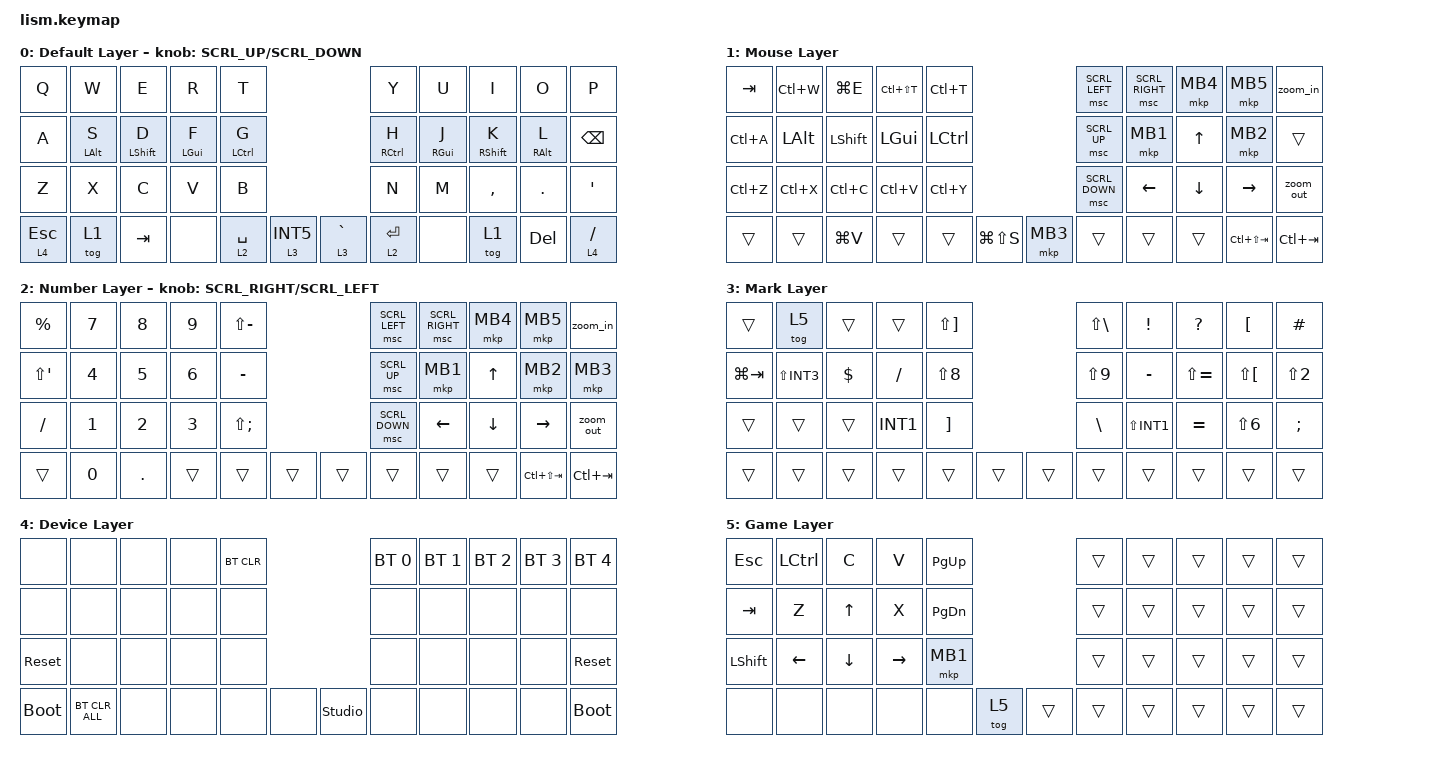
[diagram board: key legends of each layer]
#define ZMK_POINTING_DEFAULT_SCRL_VAL 100

#include <behaviors.dtsi>
#include <dt-bindings/zmk/bt.h>
#include <dt-bindings/zmk/keys.h>
#include <dt-bindings/zmk/pointing.h>
#include <dt-bindings/zmk/mouse.h>

&mt {
    tapping-term-ms = <300>;
    flavor = "balanced";
    require-prior-idle-ms = <150>;
};

&lt {
    quick-tap-ms = <300>;
};


/ {
    macros {
        emoji: emoji_macro {
            compatible = "zmk,behavior-macro";
            label = "EMOJI";
            #binding-cells = <0>;
            bindings =
                <&macro_press &kp CAPSLOCK>,
                <&macro_tap &kp E>,
                <&macro_release &kp CAPSLOCK>;
        };

        // Ctrl を押しながらホイール1ノッチ (Ctrl+ホイールと同じ拡大・縮小)
        zoom_in: zoom_in_macro {
            compatible = "zmk,behavior-macro";
            #binding-cells = <0>;
            wait-ms = <10>;
            tap-ms = <20>;
            bindings =
                <&macro_press &kp LCTRL>,
                <&macro_tap &msc SCRL_UP>,
                <&macro_release &kp LCTRL>;
        };

        zoom_out: zoom_out_macro {
            compatible = "zmk,behavior-macro";
            #binding-cells = <0>;
            wait-ms = <10>;
            tap-ms = <20>;
            bindings =
                <&macro_press &kp LCTRL>,
                <&macro_tap &msc SCRL_DOWN>,
                <&macro_release &kp LCTRL>;
        };
    };

    behaviors {
        encoder_msc: sensor_rotate_msc {
            compatible = "zmk,behavior-sensor-rotate-var";
            #sensor-binding-cells = <2>;
            bindings = <&msc>, <&msc>;
            tap-ms = <20>;
        };

        encoder_kp: sensor_rotate_kp {
            compatible = "zmk,behavior-sensor-rotate-var";
            #sensor-binding-cells = <2>;
            bindings = <&kp>, <&kp>;
        };
    };

    keymap {
        compatible = "zmk,keymap";

        default_layer {
            display-name = "Default Layer";
            bindings = <
                &kp Q            &kp W              &kp E                 &kp R                   &kp T                                                  &kp Y        &kp U            &kp I              &kp O               &kp P
                &kp A            &mt LALT S         &mt LSHIFT D          &mt LGUI F              &mt LCTRL G                                            &mt RCTRL H  &mt RGUI J       &mt RSHIFT K       &mt RALT L          &kp BSPC
                &kp Z            &kp X              &kp C                 &kp V                   &kp B                                                  &kp N        &kp M            &kp COMMA          &kp DOT             &kp SQT
                &lt 4 ESC        &tog 1             &kp TAB               &none                   &lt 2 SPACE       &lt 3 INT5          &lt 3 GRAVE      &lt 2 ENTER  &none            &tog 1              &kp DELETE          &lt 4 SLASH
            >;
            sensor-bindings = <&encoder_msc SCRL_UP SCRL_DOWN>;
        };

        layer_1 {
            display-name = "Mouse Layer";
            bindings = <
                &kp TAB          &kp LC(W)          &kp LG(E)             &kp LC(LS(T))           &kp LC(T)                                                 &msc SCRL_LEFT &msc SCRL_RIGHT &mkp MB4          &mkp MB5            &zoom_in
                &kp LC(A)        &kp LALT           &kp LSHIFT            &kp LGUI                &kp LCTRL                                                 &msc SCRL_UP &mkp MB1         &kp UP             &mkp MB2            &trans
                &kp LC(Z)        &kp LC(X)          &kp LC(C)             &kp LC(V)               &kp LC(Y)                                                 &msc SCRL_DOWN &kp LEFT       &kp DOWN           &kp RIGHT           &zoom_out
                &trans           &trans             &kp LG(V)             &trans                  &trans            &kp LG(LS(S))       &mkp MB3         &trans       &trans           &trans             &kp LC(LS(TAB))              &kp LC(TAB)
            >;
        };

        layer_2 {
            display-name = "Number Layer";
            bindings = <
                &kp PERCENT      &kp NUMBER_7       &kp NUMBER_8          &kp NUMBER_9            &kp LS(MINUS)                                             &msc SCRL_LEFT &msc SCRL_RIGHT  &mkp MB4           &mkp MB5            &zoom_in
                &kp LS(SQT)      &kp NUMBER_4       &kp NUMBER_5          &kp NUMBER_6            &kp MINUS                                              &msc SCRL_UP   &mkp MB1         &kp UP             &mkp MB2            &mkp MB3
                &kp SLASH        &kp NUMBER_1       &kp NUMBER_2          &kp NUMBER_3            &kp LS(SEMI)                                              &msc SCRL_DOWN &kp LEFT         &kp DOWN           &kp RIGHT           &zoom_out
                &trans           &kp NUMBER_0       &kp DOT               &trans                  &trans            &trans              &trans           &trans    &trans           &trans             &kp LC(LS(TAB))     &kp LC(TAB)
            >;
            sensor-bindings = <&encoder_msc SCRL_RIGHT SCRL_LEFT>;
        };

        layer_3 {
            display-name = "Mark Layer";
            bindings = <
                &trans           &tog 5             &trans                &trans                  &kp LS(RBKT)                                           &kp LS(BSLH) &kp EXCLAMATION &kp QUESTION      &kp LBKT            &kp HASH
                &kp LG(TAB)      &kp LS(INT3)       &kp DOLLAR            &kp SLASH               &kp LS(N8)                                             &kp LS(N9)   &kp MINUS        &kp LS(EQUAL) &kp LS(LBKT)      &kp LS(N2)
                &trans           &trans             &trans                &kp INT1                &kp RBKT                                               &kp BSLH     &kp LS(INT1)    &kp EQUAL         &kp LS(N6)          &kp SEMICOLON
                &trans           &trans             &trans                &trans                  &trans            &trans              &trans           &trans       &trans           &trans             &trans              &trans
            >;
        };

        layer_4 {
            display-name = "Device Layer";
            bindings = <
                &none            &none              &none                 &none                   &bt BT_CLR                                             &bt BT_SEL 0 &bt BT_SEL 1     &bt BT_SEL 2       &bt BT_SEL 3        &bt BT_SEL 4
                &none            &none              &none                 &none                   &none                                                  &none        &none            &none              &none               &none
                &sys_reset       &none              &none                 &none                   &none                                                  &none        &none            &none              &none               &sys_reset
                &bootloader      &bt BT_CLR_ALL     &none                 &none                   &none             &none               &studio_unlock   &none        &none            &none              &none               &bootloader
            >;
        };

        layer_5 {
            display-name = "Game Layer";
            bindings = <
                &kp ESC          &kp LCTRL          &kp C                 &kp V                   &kp PG_UP                                              &trans       &trans           &trans             &trans              &trans
                &kp TAB          &kp Z              &kp UP                &kp X                   &kp PG_DN                                              &trans       &trans           &trans             &trans              &trans
                &kp LSHIFT       &kp LEFT           &kp DOWN              &kp RIGHT               &mkp MB1                                               &trans       &trans           &trans             &trans              &trans
                &none            &none              &none                 &none                   &none             &tog 5              &trans           &trans       &trans           &trans             &trans              &trans
            >;
        };

        layer_6 {
            status = "reserved";
            display-name = "Brank Layer";
            bindings = <
                &trans           &trans             &trans                &trans                  &trans                                                 &trans       &trans           &trans             &trans              &trans
                &trans           &trans             &trans                &trans                  &trans                                                 &trans       &trans           &trans             &trans              &trans
                &trans           &trans             &trans                &trans                  &trans                                                 &trans       &trans           &trans             &trans              &trans
                &trans           &trans             &trans                &trans                  &trans            &trans              &trans           &trans       &trans           &trans             &trans              &trans
            >;
        };

        layer_7 {
            status = "reserved";
            display-name = "Brank Layer";
            bindings = <
                &trans           &trans             &trans                &trans                  &trans                                                 &trans       &trans           &trans             &trans              &trans
                &trans           &trans             &trans                &trans                  &trans                                                 &trans       &trans           &trans             &trans              &trans
                &trans           &trans             &trans                &trans                  &trans                                                 &trans       &trans           &trans             &trans              &trans
                &trans           &trans             &trans                &trans                  &trans            &trans              &trans           &trans       &trans           &trans             &trans              &trans
            >;
        };
    };

};
